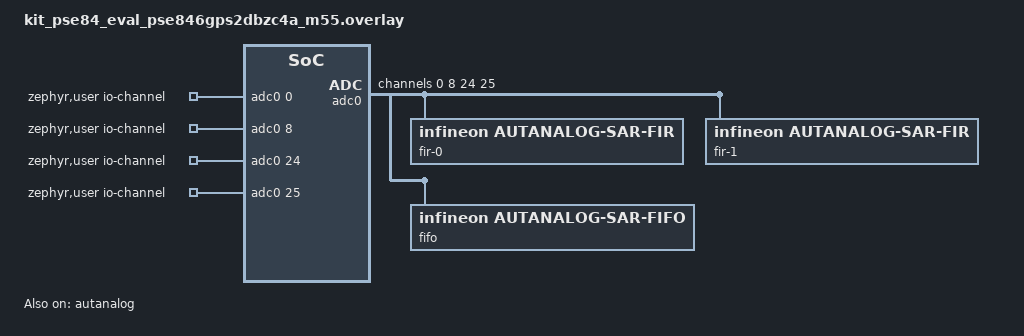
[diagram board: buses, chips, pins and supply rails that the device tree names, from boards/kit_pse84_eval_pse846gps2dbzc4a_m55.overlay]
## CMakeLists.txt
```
# SPDX-FileCopyrightText: Copyright (c) 2026 Infineon Technologies AG,
# SPDX-FileCopyrightText: or an affiliate of Infineon Technologies AG. All rights reserved.
#
# SPDX-License-Identifier: Apache-2.0

cmake_minimum_required(VERSION 3.28.0)

find_package(Zephyr REQUIRED HINTS $ENV{ZEPHYR_BASE})
project(autanalog_fir_fifo)

target_sources(app PRIVATE src/main.c)
```

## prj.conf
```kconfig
# SPDX-FileCopyrightText: <text>Copyright (c) 2026 Infineon Technologies AG,
# or an affiliate of Infineon Technologies AG. All rights reserved.</text>
#
# SPDX-License-Identifier: Apache-2.0

CONFIG_ADC=y
```

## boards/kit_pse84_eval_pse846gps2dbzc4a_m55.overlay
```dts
/*
 * SPDX-FileCopyrightText: Copyright (c) 2026 Infineon Technologies AG,
 * SPDX-FileCopyrightText: or an affiliate of Infineon Technologies AG. All rights reserved.
 *
 * SPDX-License-Identifier: Apache-2.0
 */

#include <zephyr/dt-bindings/adc/adc.h>
#include <zephyr/dt-bindings/adc/infineon-autanalog-sar.h>

/ {
	zephyr,user {
		/* ADC channels: GPIO ch0, MUX ch0, FIR0, FIR1 */
		io-channels = <&adc0 0>, <&adc0 8>, <&adc0 24>, <&adc0 25>;
	};
};

&autanalog {
	status = "okay";
};

&adc0 {
	#address-cells = <1>;
	#size-cells = <0>;
	status = "okay";

	channel@0 {
		reg = <0>;
		fifo-sel = <IFX_AUTANALOG_SAR_FIFO_0>;
		zephyr,acquisition-time = <ADC_ACQ_TIME(ADC_ACQ_TIME_MICROSECONDS, 1)>;
		zephyr,gain = "ADC_GAIN_1";
		zephyr,reference = "ADC_REF_INTERNAL";
		zephyr,resolution = <12>;
		zephyr,input-positive = <0>;   /* P15.0 */
	};

	/* MUX channel: P15.0 via internal MUX routing.
	 * Channel ID 8 = MUX channel index 0.
	 */
	channel@8 {
		reg = <8>;
		mux-buf-bypass;
		fifo-sel = <IFX_AUTANALOG_SAR_FIFO_1>;
		zephyr,acquisition-time = <ADC_ACQ_TIME(ADC_ACQ_TIME_MICROSECONDS, 1)>;
		zephyr,gain = "ADC_GAIN_1";
		zephyr,reference = "ADC_REF_INTERNAL";
		zephyr,resolution = <12>;
		zephyr,input-positive = <IFX_AUTANALOG_SAR_PIN_MUX_GPIO0>;
	};

	/* FIR0 pseudo-channel */
	channel@18 {
		reg = <24>;
		fifo-sel = <IFX_AUTANALOG_SAR_FIFO_2>;
		zephyr,acquisition-time = <ADC_ACQ_TIME(ADC_ACQ_TIME_MICROSECONDS, 1)>;
		zephyr,gain = "ADC_GAIN_1";
		zephyr,reference = "ADC_REF_INTERNAL";
		zephyr,resolution = <12>;
		zephyr,input-positive = <IFX_AUTANALOG_SAR_FIR_CH_GPIO0>;
	};

	/* FIR1 pseudo-channel */
	channel@19 {
		reg = <25>;
		fifo-sel = <IFX_AUTANALOG_SAR_FIFO_3>;
		zephyr,acquisition-time = <ADC_ACQ_TIME(ADC_ACQ_TIME_MICROSECONDS, 1)>;
		zephyr,gain = "ADC_GAIN_1";
		zephyr,reference = "ADC_REF_INTERNAL";
		zephyr,resolution = <12>;
		zephyr,input-positive = <IFX_AUTANALOG_SAR_FIR_CH_GPIO0>;
	};

	/* FIR filter 0: 4-tap moving average on GPIO channel 0 (P15.0).
	 * Each coefficient is 0.25 in Q1.15 fixed-point (0x2000).
	 */
	fir-0 {
		compatible = "infineon,autanalog-sar-fir";
		coefficients = <0x2000 0x2000 0x2000 0x2000>;
	};

	fir-1 {
		compatible = "infineon,autanalog-sar-fir";
		/* Filter coefficients populated in app */
	};

	/* FIFO: 4 x 128-word buffers.
	 * Buffer 0: raw GPIO ch0
	 * Buffer 1: mux GPIO ch0
	 * Buffer 2: FIR0
	 * Buffer 3: FIR1
	 */
	fifo {
		compatible = "infineon,autanalog-sar-fifo";
		fifo-levels = <4 4 4 4>;
	};
};

&gpio_prt15 {
	status = "okay";
};
```

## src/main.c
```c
/*
 * SPDX-FileCopyrightText: Copyright (c) 2026 Infineon Technologies AG,
 * SPDX-FileCopyrightText: or an affiliate of Infineon Technologies AG. All rights reserved.
 *
 * SPDX-License-Identifier: Apache-2.0
 */

#include <errno.h>
#include <inttypes.h>
#include <stddef.h>
#include <stdint.h>

#include <zephyr/device.h>
#include <zephyr/devicetree.h>
#include <zephyr/drivers/adc.h>
#include <zephyr/kernel.h>
#include <zephyr/sys/printk.h>
#include <zephyr/sys/util.h>
#include <zephyr/dt-bindings/adc/infineon-autanalog-sar.h>
#include <zephyr/drivers/adc/infineon_autanalog_sar.h>

#if !DT_NODE_EXISTS(DT_PATH(zephyr_user)) || !DT_NODE_HAS_PROP(DT_PATH(zephyr_user), io_channels)
#error "No suitable devicetree overlay specified"
#endif

/* FIR filter 1: 4-tap moving average coefficients in Q1.15 fixed-point.
 * Each coefficient is 0.25 (0x2000).
 */
static const int16_t fir1_coefficients[] = {0x2000, 0x2000, 0x2000, 0x2000};

#define FIFO_BUF_RAW  0 /* FIFO buffer 0: GPIO channel 0 */
#define FIFO_BUF_MUX  1 /* FIFO buffer 1: MUX channel 0 */
#define FIFO_BUF_FIR0 2 /* FIFO buffer 2: FIR0 filtered */
#define FIFO_BUF_FIR1 3 /* FIFO buffer 3: FIR1 filtered */
#define FIFO_READ_MAX 8

static volatile uint32_t fifo_int_status;
static int32_t fifo_raw_data[FIFO_READ_MAX];
static int32_t fifo_mux_data[FIFO_READ_MAX];
static int32_t fifo_fir0_data[FIFO_READ_MAX];
static int32_t fifo_fir1_data[FIFO_READ_MAX];
static volatile int fifo_raw_count;
static volatile int fifo_mux_count;
static volatile int fifo_fir0_count;
static volatile int fifo_fir1_count;
static const char *const fifo_names[] = {"GPIO", "MUX ", "FIR0", "FIR1"};
static const int32_t *const fifo_bufs[] = {fifo_raw_data, fifo_mux_data, fifo_fir0_data,
					   fifo_fir1_data};
static volatile int *const fifo_counts[] = {&fifo_raw_count, &fifo_mux_count, &fifo_fir0_count,
					    &fifo_fir1_count};

static void fifo_callback(const struct device *dev, uint32_t status, void *user_data)
{
	ARG_UNUSED(user_data);

	fifo_int_status = status;

	fifo_raw_count =
		adc_ifx_autanalog_sar_fifo_read(dev, FIFO_BUF_RAW, fifo_raw_data, FIFO_READ_MAX);
	fifo_mux_count =
		adc_ifx_autanalog_sar_fifo_read(dev, FIFO_BUF_MUX, fifo_mux_data, FIFO_READ_MAX);
	fifo_fir0_count =
		adc_ifx_autanalog_sar_fifo_read(dev, FIFO_BUF_FIR0, fifo_fir0_data, FIFO_READ_MAX);
	fifo_fir1_count =
		adc_ifx_autanalog_sar_fifo_read(dev, FIFO_BUF_FIR1, fifo_fir1_data, FIFO_READ_MAX);
}

#define DT_SPEC_AND_COMMA(node_id, prop, idx) ADC_DT_SPEC_GET_BY_IDX(node_id, idx),

/* Data of ADC io-channels specified in devicetree. */
static const struct adc_dt_spec adc_channels[] = {
	DT_FOREACH_PROP_ELEM(DT_PATH(zephyr_user), io_channels, DT_SPEC_AND_COMMA)};

static int setup_adc(void)
{
	int err;

	for (size_t i = 0U; i < ARRAY_SIZE(adc_channels); i++) {
		if (!adc_is_ready_dt(&adc_channels[i])) {
			printk("ADC controller device %s not ready\n", adc_channels[i].dev->name);
			return -ENODEV;
		}

		err = adc_channel_setup_dt(&adc_channels[i]);
		if (err < 0) {
			printk("Could not setup channel #%d (%d)\n", i, err);
			return err;
		}
	}

	/* Load FIR filter 1 coefficients (FIR0 is loaded from DT) */
	err = adc_ifx_autanalog_sar_fir_load_coefficients(adc_channels[0].dev, 1, fir1_coefficients,
							  ARRAY_SIZE(fir1_coefficients));
	if (err < 0) {
		printk("Failed to load FIR1 coefficients (%d)\n", err);
		return err;
	}

	/* Register FIFO watermark interrupt callback */
	err = adc_ifx_autanalog_sar_fifo_set_callback(adc_channels[0].dev, fifo_callback, NULL);
	if (err < 0) {
		printk("Failed to set FIFO callback (%d)\n", err);
		return err;
	}

	return 0;
}

int main(void)
{
	int err;
	uint32_t count = 0;
	int32_t buf[4];
	struct adc_sequence sequence = {
		.buffer = buf,
		.buffer_size = sizeof(buf),
		.resolution = 12,
	};

	err = setup_adc();
	if (err < 0) {
		printk("Failed to setup ADC (%d)\n", err);
		return 0;
	}

	/* Build a combined channel mask for all configured channels */
	for (size_t i = 0U; i < ARRAY_SIZE(adc_channels); i++) {
		sequence.channels |= BIT(adc_channels[i].channel_id);
	}

	while (1) {
		err = adc_read(adc_channels[0].dev, &sequence);
		if (err < 0) {
			printk("ADC read error (%d)\n", err);
			k_sleep(K_MSEC(1000));
			continue;
		}

		printk("ADC reading[%u]:\n", count++);
		for (size_t i = 0U; i < ARRAY_SIZE(adc_channels); i++) {
			int32_t val_mv = buf[i];

			printk("- %s, channel %d: %" PRId32, adc_channels[i].dev->name,
			       adc_channels[i].channel_id, val_mv);

			err = adc_raw_to_millivolts_dt(&adc_channels[i], &val_mv);
			if (err < 0) {
				printk(" (value in mV not available)\n");
			} else {
				printk(" = %" PRId32 " mV\n", val_mv);
			}
		}

		if (fifo_int_status != 0) {
			printk("FIFO: watermark event (status=0x%08x)\n", fifo_int_status);
			for (int idx = 0; idx < (int)ARRAY_SIZE(fifo_names); idx++) {
				printk("FIFO[%d] %s: %d words -", idx, fifo_names[idx],
				       *fifo_counts[idx]);
				for (int j = 0; j < *fifo_counts[idx]; j++) {
					printk(" %d", (int)fifo_bufs[idx][j]);
				}
				printk("\n");
			}
			fifo_int_status = 0;
		}

		k_sleep(K_MSEC(1000));
		printk("\n");
	}
	return 0;
}
```
